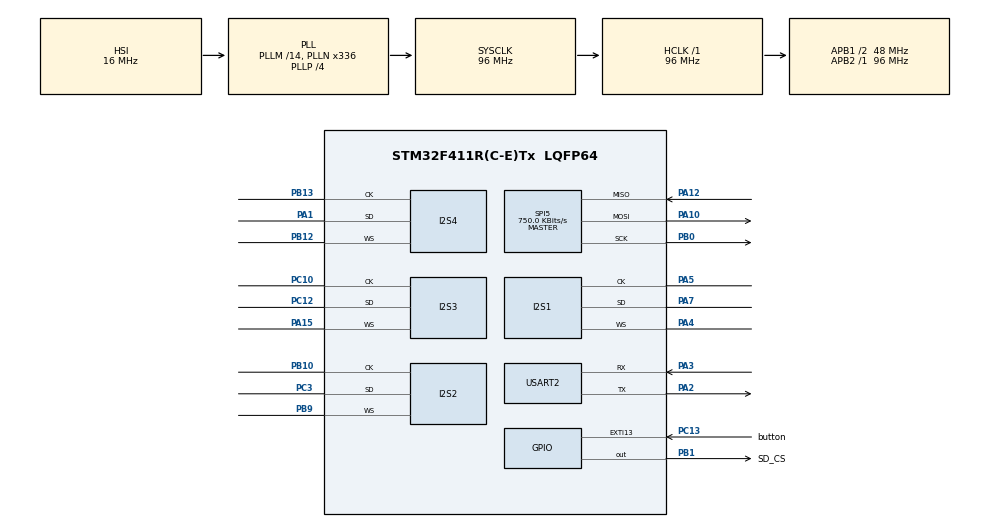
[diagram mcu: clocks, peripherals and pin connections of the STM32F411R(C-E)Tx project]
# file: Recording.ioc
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Dma.Request0=SPI3_RX
Dma.Request1=SPI1_RX
Dma.Request2=SPI4_RX
Dma.Request3=SPI2_RX
Dma.SPI1_RX.1.Direction=DMA_PERIPH_TO_MEMORY
Dma.SPI1_RX.1.FIFOMode=DMA_FIFOMODE_DISABLE
Dma.SPI1_RX.1.Instance=DMA2_Stream0
Dma.SPI1_RX.1.MemDataAlignment=DMA_MDATAALIGN_HALFWORD
Dma.SPI1_RX.1.MemInc=DMA_MINC_ENABLE
Dma.SPI1_RX.1.Mode=DMA_CIRCULAR
Dma.SPI1_RX.1.PeriphDataAlignment=DMA_PDATAALIGN_HALFWORD
Dma.SPI1_RX.1.PeriphInc=DMA_PINC_DISABLE
Dma.SPI1_RX.1.Priority=DMA_PRIORITY_LOW
Dma.SPI2_RX.3.Direction=DMA_PERIPH_TO_MEMORY
Dma.SPI2_RX.3.FIFOMode=DMA_FIFOMODE_DISABLE
Dma.SPI2_RX.3.Instance=DMA1_Stream3
Dma.SPI2_RX.3.MemDataAlignment=DMA_MDATAALIGN_HALFWORD
Dma.SPI2_RX.3.MemInc=DMA_MINC_ENABLE
Dma.SPI2_RX.3.Mode=DMA_CIRCULAR
Dma.SPI2_RX.3.PeriphDataAlignment=DMA_PDATAALIGN_HALFWORD
Dma.SPI2_RX.3.PeriphInc=DMA_PINC_DISABLE
Dma.SPI2_RX.3.Priority=DMA_PRIORITY_LOW
Dma.SPI3_RX.0.Direction=DMA_PERIPH_TO_MEMORY
Dma.SPI3_RX.0.FIFOMode=DMA_FIFOMODE_DISABLE
Dma.SPI3_RX.0.Instance=DMA1_Stream0
Dma.SPI3_RX.0.MemDataAlignment=DMA_MDATAALIGN_HALFWORD
Dma.SPI3_RX.0.MemInc=DMA_MINC_ENABLE
Dma.SPI3_RX.0.Mode=DMA_CIRCULAR
Dma.SPI3_RX.0.PeriphDataAlignment=DMA_PDATAALIGN_HALFWORD
Dma.SPI3_RX.0.PeriphInc=DMA_PINC_DISABLE
Dma.SPI3_RX.0.Priority=DMA_PRIORITY_LOW
Dma.SPI4_RX.2.Direction=DMA_PERIPH_TO_MEMORY
Dma.SPI4_RX.2.FIFOMode=DMA_FIFOMODE_DISABLE
Dma.SPI4_RX.2.Instance=DMA2_Stream3
Dma.SPI4_RX.2.MemDataAlignment=DMA_MDATAALIGN_HALFWORD
Dma.SPI4_RX.2.MemInc=DMA_MINC_ENABLE
Dma.SPI4_RX.2.Mode=DMA_CIRCULAR
Dma.SPI4_RX.2.PeriphDataAlignment=DMA_PDATAALIGN_HALFWORD
Dma.SPI4_RX.2.PeriphInc=DMA_PINC_DISABLE
Dma.SPI4_RX.2.Priority=DMA_PRIORITY_LOW
I2S1.AudioFreq=I2S_AUDIOFREQ_32K
I2S1.DataFormat=I2S_DATAFORMAT_16B_EXTENDED
I2S1.ErrorAudioFreq=-0.26 %
I2S1.FullDuplexMode=I2S_FULLDUPLEXMODE_DISABLE
I2S1.Instance=SPI$Index
I2S1.Mode=I2S_MODE_MASTER_RX
I2S1.RealAudioFreq=31.914 KHz
I2S1.VirtualMode=I2S_MODE_MASTER
I2S2.AudioFreq=I2S_AUDIOFREQ_32K
I2S2.DataFormat=I2S_DATAFORMAT_16B_EXTENDED
I2S2.ErrorAudioFreq=-0.26 %
I2S2.FullDuplexMode=I2S_FULLDUPLEXMODE_DISABLE
I2S2.Instance=SPI$Index
I2S2.Mode=I2S_MODE_MASTER_RX
I2S2.RealAudioFreq=31.914 KHz
I2S2.VirtualMode=I2S_MODE_MASTER
I2S3.AudioFreq=I2S_AUDIOFREQ_32K
I2S3.DataFormat=I2S_DATAFORMAT_16B_EXTENDED
I2S3.ErrorAudioFreq=-0.26 %
I2S3.FullDuplexMode=I2S_FULLDUPLEXMODE_DISABLE
I2S3.Instance=SPI$Index
I2S3.Mode=I2S_MODE_MASTER_RX
I2S3.RealAudioFreq=31.914 KHz
I2S3.VirtualMode=I2S_MODE_MASTER
I2S4.AudioFreq=I2S_AUDIOFREQ_32K
I2S4.DataFormat=I2S_DATAFORMAT_16B_EXTENDED
I2S4.ErrorAudioFreq=-0.26 %
I2S4.FullDuplexMode=I2S_FULLDUPLEXMODE_DISABLE
I2S4.Instance=SPI$Index
I2S4.Mode=I2S_MODE_MASTER_RX
I2S4.RealAudioFreq=31.914 KHz
I2S4.VirtualMode=I2S_MODE_MASTER
Mcu.Family=STM32F4
Mcu.Name=STM32F411R(C-E)Tx
Mcu.Package=LQFP64
NVIC.DMA1_Stream0_IRQn=true\:0\:0\:false\:false\:true\:false\:true\:true
NVIC.DMA1_Stream3_IRQn=true\:0\:0\:false\:false\:true\:false\:true\:true
NVIC.DMA2_Stream0_IRQn=true\:0\:0\:false\:false\:true\:false\:true\:true
NVIC.DMA2_Stream3_IRQn=true\:0\:0\:false\:false\:true\:false\:true\:true
NVIC.EXTI15_10_IRQn=true\:0\:0\:false\:false\:true\:true\:true\:true
NVIC.PriorityGroup=NVIC_PRIORITYGROUP_0
PA1.Mode=Half_Duplex_Master
PA1.Signal=I2S4_SD
PA10.GPIO_PuPd=GPIO_NOPULL
PA10.Mode=Full_Duplex_Master
PA10.Signal=SPI5_MOSI
PA12.GPIO_PuPd=GPIO_NOPULL
PA12.Mode=Full_Duplex_Master
PA12.Signal=SPI5_MISO
PA15.Mode=Half_Duplex_Master
PA15.Signal=I2S3_WS
PA2.Mode=Asynchronous
PA2.Signal=USART2_TX
PA3.Mode=Asynchronous
PA3.Signal=USART2_RX
PA4.Mode=Half_Duplex_Master
PA4.Signal=I2S1_WS
PA5.Mode=Half_Duplex_Master
PA5.Signal=I2S1_CK
PA7.Mode=Half_Duplex_Master
PA7.Signal=I2S1_SD
PB0.GPIO_PuPd=GPIO_NOPULL
PB0.Mode=Full_Duplex_Master
PB0.Signal=SPI5_SCK
PB1.GPIO_Label=SD_CS
PB1.Signal=GPIO_Output
PB10.Mode=Half_Duplex_Master
PB10.Signal=I2S2_CK
PB12.Mode=Half_Duplex_Master
PB12.Signal=I2S4_WS
PB13.Mode=Half_Duplex_Master
PB13.Signal=I2S4_CK
PB9.Mode=Half_Duplex_Master
PB9.Signal=I2S2_WS
PC10.Mode=Half_Duplex_Master
PC10.Signal=I2S3_CK
PC12.Mode=Half_Duplex_Master
PC12.Signal=I2S3_SD
PC13-ANTI_TAMP.GPIO_Label=button
PC13-ANTI_TAMP.GPIO_ModeDefaultEXTI=GPIO_MODE_IT_RISING
PC13-ANTI_TAMP.Signal=GPXTI13
PC3.Mode=Half_Duplex_Master
PC3.Signal=I2S2_SD
ProjectManager.HeapSize=0x200
ProjectManager.StackSize=0x400
ProjectManager.TargetToolchain=STM32CubeIDE
RCC.48MHZClocksFreq_Value=96000000.00000001
RCC.AHBFreq_Value=96000000.00000001
RCC.APB1CLKDivider=RCC_HCLK_DIV2
RCC.APB1Freq_Value=48000000.00000001
RCC.APB1TimFreq_Value=96000000.00000001
RCC.APB2Freq_Value=96000000.00000001
RCC.APB2TimFreq_Value=96000000.00000001
RCC.CortexFreq_Value=96000000.00000001
RCC.FLatency-AdvancedSettings=FLASH_LATENCY_3
RCC.HCLKFreq_Value=96000000.00000001
RCC.HSE_VALUE=8000000
RCC.HSI_VALUE=16000000
RCC.LSE_VALUE=32768
RCC.PLLM=14
RCC.PLLN=336
RCC.PLLP=RCC_PLLP_DIV4
RCC.SYSCLKFreq_VALUE=96000000.00000001
RCC.SYSCLKSource=RCC_SYSCLKSOURCE_PLLCLK
RCC.VCOOutputFreq_Value=384000000.00000006
SPI5.BaudRatePrescaler=SPI_BAUDRATEPRESCALER_128
SPI5.CalculateBaudRate=750.0 KBits/s
SPI5.Direction=SPI_DIRECTION_2LINES
SPI5.Mode=SPI_MODE_MASTER
SPI5.VirtualType=VM_MASTER
USART2.VirtualMode=VM_ASYNC
VP_FATFS_VS_Generic.Mode=User_defined
board=NUCLEO-F411RE

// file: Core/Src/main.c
/* USER CODE BEGIN Header */
/**
  ******************************************************************************
  * @file           : main.c
  * @brief          : Main program body
  ******************************************************************************
  * @attention
  *
  * Copyright (c) 2025 STMicroelectronics.
  * All rights reserved.
  *
  * This software is licensed under terms that can be found in the LICENSE file
  * in the root directory of this software component.
  * If no LICENSE file comes with this software, it is provided AS-IS.
  *
  ******************************************************************************
  */
/* USER CODE END Header */
#include "main.h"
#include "fatfs.h"

/* USER CODE BEGIN Includes */
#include <stdio.h>
#include <string.h>
#include <stdarg.h>
/* USER CODE END Includes */

/* USER CODE BEGIN PD */
#define WAV_WRITE_SAMPLE_COUNT 2048

/* USER CODE END PD */

I2S_HandleTypeDef hi2s1;
I2S_HandleTypeDef hi2s2;
I2S_HandleTypeDef hi2s3;
I2S_HandleTypeDef hi2s4;
DMA_HandleTypeDef hdma_spi1_rx;
DMA_HandleTypeDef hdma_spi2_rx;
DMA_HandleTypeDef hdma_spi3_rx;
DMA_HandleTypeDef hdma_spi4_rx;

SPI_HandleTypeDef hspi5;

UART_HandleTypeDef huart2;

/* USER CODE BEGIN PV */
FATFS FatFs;
 FIL fil;
 FRESULT fres;
int16_t data_i2s[WAV_WRITE_SAMPLE_COUNT];
int16_t data_i2s_mic2[WAV_WRITE_SAMPLE_COUNT];
int16_t data_i2s_mic3[WAV_WRITE_SAMPLE_COUNT];
int16_t data_i2s_mic4[WAV_WRITE_SAMPLE_COUNT];

volatile int16_t sample_i2s;
volatile uint8_t button_flag, start_stop_recording;
static uint8_t wav_file_header[44]={0x52, 0x49, 0x46, 0x46,
0xa4, 0xa9, 0x03, 0x00,
0x57 ,0x41, 0x56, 0x45,
		0x66, 0x6d,	0x74, 0x20,
    0x10, 0x00, 0x00, 0x00,
		0x01, 0x00,
    0x04, 0x00, //4 channels
		0x00, 0x7d, 0x00, 0x00,
		0x00, 0xE4, 0x03, 0x00,
		0x08, 0x00,
    0x10, 0x00,
		0x64, 0x61, 0x74, 0x61,
		0x80, 0xa9, 0x03, 0x00};
static uint32_t wav_file_size;
static uint8_t first_time =0;
volatile uint8_t half_i2s, full_i2s;

volatile uint8_t mic1_half_ready = 0, mic1_full_ready = 0;
volatile uint8_t mic2_half_ready = 0, mic2_full_ready = 0;
volatile uint8_t mic3_half_ready = 0, mic3_full_ready = 0;
volatile uint8_t mic4_half_ready = 0, mic4_full_ready = 0;

volatile int frame_counter = 0;
const int frames_to_skip = 10;  // skip first 5 half/full frames

/* USER CODE END PV */

void SystemClock_Config(void);
void PeriphCommonClock_Config(void);
static void MX_GPIO_Init(void);
static void MX_DMA_Init(void);
static void MX_I2S3_Init(void);
static void MX_USART2_UART_Init(void);
static void MX_I2S1_Init(void);
static void MX_I2S4_Init(void);
static void MX_SPI5_Init(void);
static void MX_I2S2_Init(void);
/* USER CODE BEGIN PFP */
void myprintf(const char *fmt, ...);
/* USER CODE END PFP */

/* USER CODE BEGIN 0 */
void myprintf(const char *fmt, ...){
	static char buffer[256];
	va_list args;
	va_start(args, fmt);
	vsnprintf(buffer, sizeof(buffer), fmt, args);
	va_end(args);

	int len = strlen(buffer);
	HAL_UART_Transmit(&huart2, (uint8_t*)buffer,len,-1);
}

void start_recording(uint32_t frequency){
	 char file_name[15];
	static uint8_t file_counter = 10;
//	int file_number_digits = file_counter;
	uint32_t byte_rate = frequency*2*4;
	wav_file_header[24] = (uint8_t)frequency;
		wav_file_header[25] = (uint8_t)(frequency >> 8);
		wav_file_header[26] = (uint8_t)(frequency >> 16);
		wav_file_header[27] = (uint8_t)(frequency >> 24);
		wav_file_header[28] = (uint8_t)byte_rate;
		wav_file_header[29] = (uint8_t)(byte_rate >> 8);
		wav_file_header[30] = (uint8_t)(byte_rate >> 16);
		wav_file_header[31] = (uint8_t)(byte_rate >> 24);
		// defining a wave file name
//			file_name[4] = file_number_digits%10 + 48;
//			file_number_digits /= 10;
//			file_name[3] = file_number_digits%10 + 48;
//			file_number_digits /= 10;
//			file_name[2] = file_number_digits%10 + 48;
			snprintf(file_name, sizeof(file_name), "tree_%03d.wav", file_counter++);

			// creating a file
			fres = f_open(&fil ,file_name, FA_WRITE|FA_CREATE_ALWAYS);
			if(fres != FR_OK)
			{
				myprintf("Error creating file (%s): %d\n", file_name, fres);
				return;
			}
			else
			{
				myprintf("Successfully opened file: %s\n", file_name);
			}
			wav_file_size = 0;

}

//void write2wave_file(uint8_t *mic1, uint8_t *mic2, uint8_t *mic3, uint16_t stereo_sample_count_bytes) {
//    uint32_t temp_number;
//    myprintf("Writing...\n");
//
//    if (first_time == 0) {
//        fres = f_write(&fil, (void *)wav_file_header, sizeof(wav_file_header), (UINT *)&temp_number);
//        if (fres != FR_OK) {
//            myprintf("Header write error: %d\n", fres);
//            f_close(&fil);
//            return;
//        }
//        first_time = 1;
//    }
//
//    // stereo_sample_count_bytes = number of bytes per mic (e.g., 2048 = 512 stereo samples = 512 LEFT samples)
//
//    const int num_stereo_frames = stereo_sample_count_bytes / 4;  // each stereo sample = 4 bytes
//    uint8_t interleaved[3 * num_stereo_frames * 2];  // 3 mics * 2 bytes (LEFT only)
//
//    for (int i = 0, j = 0; i < stereo_sample_count_bytes; i += 4) {
//        // Extract LEFT sample from each mic and interleave
//        interleaved[j++] = mic1[i];       // mic1 LEFT LSB
//        interleaved[j++] = mic1[i + 1];   // mic1 LEFT MSB
//
//        interleaved[j++] = mic2[i];       // mic2 LEFT LSB
//        interleaved[j++] = mic2[i + 1];   // mic2 LEFT MSB
//
//        interleaved[j++] = mic3[i];       // mic3 LEFT LSB
//        interleaved[j++] = mic3[i + 1];   // mic3 LEFT MSB
//    }
//
//    // Write interleaved data
//    UINT bytes_written;
//    fres = f_write(&fil, interleaved, sizeof(interleaved), &bytes_written);
//
//    if (fres != FR_OK) {
//        myprintf("Write error: %d\n", fres);
//        f_close(&fil);
//        return;
//    }
//
//    wav_file_size += bytes_written;
//
//    static int write_count = 0;
//    if (++write_count % 10 == 0) {
//        f_sync(&fil);
//    }
//}

void write2wave_file(uint8_t *mic1, uint8_t *mic2, uint8_t *mic3, uint8_t *mic4, uint16_t stereo_sample_count_bytes) {
    uint32_t temp_number;
    myprintf("Writing...\n");

    if (first_time == 0) {
        fres = f_write(&fil, (void *)wav_file_header, sizeof(wav_file_header), (UINT *)&temp_number);
        if (fres != FR_OK) {
            myprintf("Header write error: %d\n", fres);
            f_close(&fil);
            return;
        }
        first_time = 1;
    }

    float gain = 3.0f;  // Adjust this value as needed

    const int num_stereo_frames = stereo_sample_count_bytes / 4;  // each stereo frame = 4 bytes (L+R)
    uint8_t interleaved[4 * num_stereo_frames * 2];  // 3 mics * 2 bytes per (amplified) LEFT sample

    for (int i = 0, j = 0; i < stereo_sample_count_bytes; i += 4) {
        uint8_t *mics[] = {mic1, mic2, mic3, mic4};
        for (int m = 0; m < 4; m++) {
            // Reconstruct 16-bit sample (little endian)
            int16_t sample = (int16_t)(mics[m][i] | (mics[m][i + 1] << 8));

            // Amplify
            int32_t amplified = (int32_t)(sample * gain);

            // Saturate to int16_t
            if (amplified > 32767) amplified = 32767;
            if (amplified < -32768) amplified = -32768;

            // Store back as little endian
            interleaved[j++] = amplified & 0xFF;
            interleaved[j++] = (amplified >> 8) & 0xFF;
        }
    }

    // Write interleaved data
    UINT bytes_written;
    fres = f_write(&fil, interleaved, sizeof(interleaved), &bytes_written);

    if (fres != FR_OK) {
        myprintf("Write error: %d\n", fres);
        f_close(&fil);
        return;
    }

    wav_file_size += bytes_written;

    static int write_count = 0;
    if (++write_count % 10 == 0) {
        f_sync(&fil);
    }
}

void stop_recording(){

	uint16_t temp_number;
		// updating data size sector
		wav_file_size -= 8;
		wav_file_header[4] = (uint8_t)wav_file_size;
		wav_file_header[5] = (uint8_t)(wav_file_size >> 8);
		wav_file_header[6] = (uint8_t)(wav_file_size >> 16);
		wav_file_header[7] = (uint8_t)(wav_file_size >> 24);
		wav_file_size -= 36;
		wav_file_header[40] = (uint8_t)wav_file_size;
		wav_file_header[41] = (uint8_t)(wav_file_size >> 8);
		wav_file_header[42] = (uint8_t)(wav_file_size >> 16);
		wav_file_header[43] = (uint8_t)(wav_file_size >> 24);

		// moving to the beginning of the file to update the file format
		f_lseek(&fil, 0);
		f_write(&fil,(void *)wav_file_header, sizeof(wav_file_header),(UINT*)&temp_number);
		if(fres != 0)
		{
			myprintf("error in updating the first sector: %d \n", fres);
			while(1);
		}
		f_close(&fil);
		first_time = 0;
		myprintf("closed the file \n");

}
/* USER CODE END 0 */

int main(void)
{

  /* MCU Configuration--------------------------------------------------------*/

  /* Reset of all peripherals, Initializes the Flash interface and the Systick. */
  HAL_Init();

  /* Configure the system clock */
  SystemClock_Config();

  /* Configure the peripherals common clocks */
  PeriphCommonClock_Config();

  /* Initialize all configured peripherals */
  MX_GPIO_Init();
  MX_DMA_Init();
  MX_I2S3_Init();
  MX_USART2_UART_Init();
  MX_FATFS_Init();
  MX_I2S1_Init();
  MX_I2S4_Init();
  MX_SPI5_Init();
  MX_I2S2_Init();
  /* USER CODE BEGIN 2 */
  myprintf("\r\n~ SD card demo ~\r\n\r\n");
  HAL_Delay(1000);

  fres = f_mount(&FatFs, "",1);
  if (fres != FR_OK){
	  myprintf("f_mount error (%i)\r\n", fres);
	  while(1);
  }

  DWORD free_clusters, free_sectors, total_sectors;
  FATFS* getFreeFs;
  fres = f_getfree("", &free_clusters, &getFreeFs);
  if (fres != FR_OK){
	  myprintf("f_getfree error (%i)\r\n",fres);
	  while(1);
  }

  total_sectors =(getFreeFs->n_fatent-2) * getFreeFs->csize;
  free_sectors = free_clusters * getFreeFs->csize;
  myprintf("SD card stats:\r\n%10lu KiB total drive space.\r\n%10lu KiB available.\r\n", total_sectors/2, free_sectors/2);

  //open text file
//  fres = f_open(&fil, "text.txt", FA_READ);
//  if (fres != FR_OK){
//	  myprintf("f_open error (%i)\r\n");
//	  while(1);
//  }
//  myprintf("I was able to open 'text.txt' for reading!\r\n");
//
//  BYTE readBuf[30];
//
//  TCHAR* rres = f_gets((TCHAR*)readBuf,30, &fil);
//  if (rres != 0){
//	  myprintf("read string from 'text.txt' contents:%s\r\n", readBuf);
//
//  }
//  else{
//	  myprintf("f_gets error (%i)\r\n",fres);
//  }

//  f_close(&fil);

  //write a file "write.txt"
//  fres = f_open(&fil, "write.txt", FA_WRITE | FA_OPEN_ALWAYS | FA_CREATE_ALWAYS);
//  if(fres == FR_OK){
//	  myprintf("I was able to open 'write.tx' for writing\r\n");
//  }
//  else{
//	  myprintf("f_open error (%i)\r\n", fres);
//  }
//
//  //copy in a string
//  strncpy((char*)readBuf, "a new file is made!",19);
//  UINT bytesWrote;
//  fres = f_write(&fil, readBuf, 19, &bytesWrote);
//  if(fres==FR_OK){
//	  myprintf("Wrote %i bytes to 'write.txt'!\r\n", bytesWrote);
//  }
//  else{
//	  myprintf("f_write error (%i)\r\n");
//  }
//  f_close(&fil);
//  f_mount(NULL,"",0);

  /* USER CODE END 2 */

  /* Infinite loop */
  while (1)
  {

    /* USER CODE BEGIN 3 */
	 if(button_flag){
		 if(start_stop_recording){
			 HAL_I2S_DMAStop(&hi2s1);
			 HAL_I2S_DMAStop(&hi2s2);
			 HAL_I2S_DMAStop(&hi2s3);
			 HAL_I2S_DMAStop(&hi2s4);
			 start_stop_recording = 0;
			 stop_recording();
			 myprintf("stop recording \n");
		 }
		 else{
			 start_stop_recording = 1;
			 start_recording(I2S_AUDIOFREQ_32K);
			 myprintf("start recording \n");
			 HAL_Delay(500);
			  HAL_I2S_Receive_DMA(&hi2s1, (uint16_t *)data_i2s, sizeof(data_i2s)/2);
			  HAL_I2S_Receive_DMA(&hi2s2, (uint16_t *)data_i2s_mic2, sizeof(data_i2s_mic2)/2);
			  HAL_I2S_Receive_DMA(&hi2s3, (uint16_t *)data_i2s_mic3, sizeof(data_i2s_mic3)/2);
			  HAL_I2S_Receive_DMA(&hi2s4, (uint16_t *)data_i2s_mic4, sizeof(data_i2s_mic4)/2);

		 }
		 button_flag= 0;

	 }
	 if (start_stop_recording == 1 && (half_i2s == 1 || full_i2s == 1)) {
//	     if (frame_counter < frames_to_skip) {
//	         // Skip initial noisy frames
//	         frame_counter++;
//	         half_i2s = full_i2s = 0;
//	         continue;
//	     }

	     if (half_i2s == 1) {
	         write2wave_file(
	             (uint8_t*)data_i2s,
	             (uint8_t*)data_i2s_mic2,
	             (uint8_t*)data_i2s_mic3,
	             (uint8_t*)data_i2s_mic4,
	             WAV_WRITE_SAMPLE_COUNT
	         );
	         half_i2s = 0;
	     } else if (full_i2s == 1) {
	         write2wave_file(
	             ((uint8_t*)data_i2s) + WAV_WRITE_SAMPLE_COUNT,
	             ((uint8_t*)data_i2s_mic2) + WAV_WRITE_SAMPLE_COUNT,
	             ((uint8_t*)data_i2s_mic3) + WAV_WRITE_SAMPLE_COUNT,
	             ((uint8_t*)data_i2s_mic4) + WAV_WRITE_SAMPLE_COUNT,
	             WAV_WRITE_SAMPLE_COUNT
	         );
	         full_i2s = 0;
	     }
	 }

  }
  /* USER CODE END 3 */
}

void SystemClock_Config(void)
{
  RCC_OscInitTypeDef RCC_OscInitStruct = {0};
  RCC_ClkInitTypeDef RCC_ClkInitStruct = {0};

  /** Configure the main internal regulator output voltage
  */
  __HAL_RCC_PWR_CLK_ENABLE();
  __HAL_PWR_VOLTAGESCALING_CONFIG(PWR_REGULATOR_VOLTAGE_SCALE1);

  /** Initializes the RCC Oscillators according to the specified parameters
  * in the RCC_OscInitTypeDef structure.
  */
  RCC_OscInitStruct.OscillatorType = RCC_OSCILLATORTYPE_HSI;
  RCC_OscInitStruct.HSIState = RCC_HSI_ON;
  RCC_OscInitStruct.HSICalibrationValue = RCC_HSICALIBRATION_DEFAULT;
  RCC_OscInitStruct.PLL.PLLState = RCC_PLL_ON;
  RCC_OscInitStruct.PLL.PLLSource = RCC_PLLSOURCE_HSI;
  RCC_OscInitStruct.PLL.PLLM = 14;
  RCC_OscInitStruct.PLL.PLLN = 336;
  RCC_OscInitStruct.PLL.PLLP = RCC_PLLP_DIV4;
  RCC_OscInitStruct.PLL.PLLQ = 4;
  if (HAL_RCC_OscConfig(&RCC_OscInitStruct) != HAL_OK)
  {
    Error_Handler();
  }

  /** Initializes the CPU, AHB and APB buses clocks
  */
  RCC_ClkInitStruct.ClockType = RCC_CLOCKTYPE_HCLK|RCC_CLOCKTYPE_SYSCLK
                              |RCC_CLOCKTYPE_PCLK1|RCC_CLOCKTYPE_PCLK2;
  RCC_ClkInitStruct.SYSCLKSource = RCC_SYSCLKSOURCE_PLLCLK;
  RCC_ClkInitStruct.AHBCLKDivider = RCC_SYSCLK_DIV1;
  RCC_ClkInitStruct.APB1CLKDivider = RCC_HCLK_DIV2;
  RCC_ClkInitStruct.APB2CLKDivider = RCC_HCLK_DIV1;

  if (HAL_RCC_ClockConfig(&RCC_ClkInitStruct, FLASH_LATENCY_3) != HAL_OK)
  {
    Error_Handler();
  }
}

void PeriphCommonClock_Config(void)
{
  RCC_PeriphCLKInitTypeDef PeriphClkInitStruct = {0};

  /** Initializes the peripherals clock
  */
  PeriphClkInitStruct.PeriphClockSelection = RCC_PERIPHCLK_I2S;
  PeriphClkInitStruct.PLLI2S.PLLI2SN = 192;
  PeriphClkInitStruct.PLLI2S.PLLI2SM = 16;
  PeriphClkInitStruct.PLLI2S.PLLI2SR = 2;
  if (HAL_RCCEx_PeriphCLKConfig(&PeriphClkInitStruct) != HAL_OK)
  {
    Error_Handler();
  }
}

static void MX_I2S1_Init(void)
{

  hi2s1.Instance = SPI1;
  hi2s1.Init.Mode = I2S_MODE_MASTER_RX;
  hi2s1.Init.Standard = I2S_STANDARD_PHILIPS;
  hi2s1.Init.DataFormat = I2S_DATAFORMAT_16B_EXTENDED;
  hi2s1.Init.MCLKOutput = I2S_MCLKOUTPUT_DISABLE;
  hi2s1.Init.AudioFreq = I2S_AUDIOFREQ_32K;
  hi2s1.Init.CPOL = I2S_CPOL_LOW;
  hi2s1.Init.ClockSource = I2S_CLOCK_PLL;
  hi2s1.Init.FullDuplexMode = I2S_FULLDUPLEXMODE_DISABLE;
  if (HAL_I2S_Init(&hi2s1) != HAL_OK)
  {
    Error_Handler();
  }

}

static void MX_I2S2_Init(void)
{

  hi2s2.Instance = SPI2;
  hi2s2.Init.Mode = I2S_MODE_MASTER_RX;
  hi2s2.Init.Standard = I2S_STANDARD_PHILIPS;
  hi2s2.Init.DataFormat = I2S_DATAFORMAT_16B_EXTENDED;
  hi2s2.Init.MCLKOutput = I2S_MCLKOUTPUT_DISABLE;
  hi2s2.Init.AudioFreq = I2S_AUDIOFREQ_32K;
  hi2s2.Init.CPOL = I2S_CPOL_LOW;
  hi2s2.Init.ClockSource = I2S_CLOCK_PLL;
  hi2s2.Init.FullDuplexMode = I2S_FULLDUPLEXMODE_DISABLE;
  if (HAL_I2S_Init(&hi2s2) != HAL_OK)
  {
    Error_Handler();
  }

}

static void MX_I2S3_Init(void)
{

  hi2s3.Instance = SPI3;
  hi2s3.Init.Mode = I2S_MODE_MASTER_RX;
  hi2s3.Init.Standard = I2S_STANDARD_PHILIPS;
  hi2s3.Init.DataFormat = I2S_DATAFORMAT_16B_EXTENDED;
  hi2s3.Init.MCLKOutput = I2S_MCLKOUTPUT_DISABLE;
  hi2s3.Init.AudioFreq = I2S_AUDIOFREQ_32K;
  hi2s3.Init.CPOL = I2S_CPOL_LOW;
  hi2s3.Init.ClockSource = I2S_CLOCK_PLL;
  hi2s3.Init.FullDuplexMode = I2S_FULLDUPLEXMODE_DISABLE;
  if (HAL_I2S_Init(&hi2s3) != HAL_OK)
  {
    Error_Handler();
  }

}

static void MX_I2S4_Init(void)
{

  hi2s4.Instance = SPI4;
  hi2s4.Init.Mode = I2S_MODE_MASTER_RX;
  hi2s4.Init.Standard = I2S_STANDARD_PHILIPS;
  hi2s4.Init.DataFormat = I2S_DATAFORMAT_16B_EXTENDED;
  hi2s4.Init.MCLKOutput = I2S_MCLKOUTPUT_DISABLE;
  hi2s4.Init.AudioFreq = I2S_AUDIOFREQ_32K;
  hi2s4.Init.CPOL = I2S_CPOL_LOW;
  hi2s4.Init.ClockSource = I2S_CLOCK_PLL;
  hi2s4.Init.FullDuplexMode = I2S_FULLDUPLEXMODE_DISABLE;
  if (HAL_I2S_Init(&hi2s4) != HAL_OK)
  {
    Error_Handler();
  }

}

static void MX_SPI5_Init(void)
{

  /* SPI5 parameter configuration*/
  hspi5.Instance = SPI5;
  hspi5.Init.Mode = SPI_MODE_MASTER;
  hspi5.Init.Direction = SPI_DIRECTION_2LINES;
  hspi5.Init.DataSize = SPI_DATASIZE_8BIT;
  hspi5.Init.CLKPolarity = SPI_POLARITY_LOW;
  hspi5.Init.CLKPhase = SPI_PHASE_1EDGE;
  hspi5.Init.NSS = SPI_NSS_SOFT;
  hspi5.Init.BaudRatePrescaler = SPI_BAUDRATEPRESCALER_128;
  hspi5.Init.FirstBit = SPI_FIRSTBIT_MSB;
  hspi5.Init.TIMode = SPI_TIMODE_DISABLE;
  hspi5.Init.CRCCalculation = SPI_CRCCALCULATION_DISABLE;
  hspi5.Init.CRCPolynomial = 10;
  if (HAL_SPI_Init(&hspi5) != HAL_OK)
  {
    Error_Handler();
  }

}

static void MX_USART2_UART_Init(void)
{

  huart2.Instance = USART2;
  huart2.Init.BaudRate = 115200;
  huart2.Init.WordLength = UART_WORDLENGTH_8B;
  huart2.Init.StopBits = UART_STOPBITS_1;
  huart2.Init.Parity = UART_PARITY_NONE;
  huart2.Init.Mode = UART_MODE_TX_RX;
  huart2.Init.HwFlowCtl = UART_HWCONTROL_NONE;
  huart2.Init.OverSampling = UART_OVERSAMPLING_16;
  if (HAL_UART_Init(&huart2) != HAL_OK)
  {
    Error_Handler();
  }

}

static void MX_DMA_Init(void)
{

  /* DMA controller clock enable */
  __HAL_RCC_DMA1_CLK_ENABLE();
  __HAL_RCC_DMA2_CLK_ENABLE();

  /* DMA interrupt init */
  /* DMA1_Stream0_IRQn interrupt configuration */
  HAL_NVIC_SetPriority(DMA1_Stream0_IRQn, 0, 0);
  HAL_NVIC_EnableIRQ(DMA1_Stream0_IRQn);
  /* DMA1_Stream3_IRQn interrupt configuration */
  HAL_NVIC_SetPriority(DMA1_Stream3_IRQn, 0, 0);
  HAL_NVIC_EnableIRQ(DMA1_Stream3_IRQn);
  /* DMA2_Stream0_IRQn interrupt configuration */
  HAL_NVIC_SetPriority(DMA2_Stream0_IRQn, 0, 0);
  HAL_NVIC_EnableIRQ(DMA2_Stream0_IRQn);
  /* DMA2_Stream3_IRQn interrupt configuration */
  HAL_NVIC_SetPriority(DMA2_Stream3_IRQn, 0, 0);
  HAL_NVIC_EnableIRQ(DMA2_Stream3_IRQn);

}

static void MX_GPIO_Init(void)
{
  GPIO_InitTypeDef GPIO_InitStruct = {0};

  /* GPIO Ports Clock Enable */
  __HAL_RCC_GPIOC_CLK_ENABLE();
  __HAL_RCC_GPIOA_CLK_ENABLE();
  __HAL_RCC_GPIOB_CLK_ENABLE();

  /*Configure GPIO pin Output Level */
  HAL_GPIO_WritePin(SD_CS_GPIO_Port, SD_CS_Pin, GPIO_PIN_RESET);

  /*Configure GPIO pin : button_Pin */
  GPIO_InitStruct.Pin = button_Pin;
  GPIO_InitStruct.Mode = GPIO_MODE_IT_RISING;
  GPIO_InitStruct.Pull = GPIO_NOPULL;
  HAL_GPIO_Init(button_GPIO_Port, &GPIO_InitStruct);

  /*Configure GPIO pin : SD_CS_Pin */
  GPIO_InitStruct.Pin = SD_CS_Pin;
  GPIO_InitStruct.Mode = GPIO_MODE_OUTPUT_PP;
  GPIO_InitStruct.Pull = GPIO_NOPULL;
  GPIO_InitStruct.Speed = GPIO_SPEED_FREQ_LOW;
  HAL_GPIO_Init(SD_CS_GPIO_Port, &GPIO_InitStruct);

  /* EXTI interrupt init*/
  HAL_NVIC_SetPriority(EXTI15_10_IRQn, 0, 0);
  HAL_NVIC_EnableIRQ(EXTI15_10_IRQn);

}

/* USER CODE BEGIN 4 */
int _write(int file, char *ptr, int len){
	int DataIdx;
	for (DataIdx =0; DataIdx < len; DataIdx++){
		ITM_SendChar(*ptr++);
	}
	return len;
}

void HAL_I2S_RxCpltCallback(I2S_HandleTypeDef *hi2s) {
    if (hi2s->Instance == SPI1) {
        mic1_full_ready = 1;
    } else if (hi2s->Instance == SPI2) {
        mic2_full_ready = 1;
    } else if (hi2s->Instance == SPI3) {
        mic3_full_ready = 1;
    }
    else if (hi2s->Instance == SPI4) {
           mic4_full_ready = 1;
       }

    if (mic1_full_ready && mic2_full_ready && mic3_full_ready && mic4_full_ready) {
        full_i2s = 1;
        mic1_full_ready = mic2_full_ready = mic3_full_ready  = mic4_full_ready= 0;
    }
}

void HAL_I2S_RxHalfCpltCallback(I2S_HandleTypeDef *hi2s) {
    if (hi2s->Instance == SPI1) {
        mic1_half_ready = 1;
    } else if (hi2s->Instance == SPI2) {
        mic2_half_ready = 1;
    } else if (hi2s->Instance == SPI3) {
        mic3_half_ready = 1;
    }
    else if (hi2s->Instance == SPI4) {
               mic4_half_ready = 1;
           }

    if (mic1_half_ready && mic2_half_ready && mic3_half_ready && mic4_half_ready) {
        half_i2s = 1;
        mic1_half_ready = mic2_half_ready = mic3_half_ready=mic4_half_ready = 0;
    }
}

void HAL_GPIO_EXTI_Callback(uint16_t GPIO_Pin){
	if (GPIO_Pin == button_Pin){
		button_flag = 1;
	}
}
/* USER CODE END 4 */

void Error_Handler(void)
{
  __disable_irq();
  while (1)
  {
  }
}
